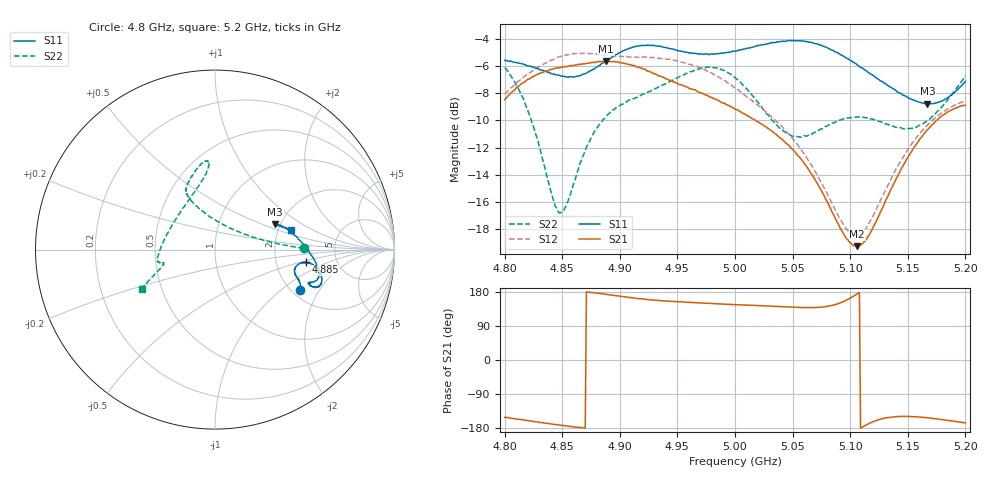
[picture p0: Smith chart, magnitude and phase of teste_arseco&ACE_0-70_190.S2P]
! Network Analyzer HP8722D
! Hewlett-Packard
! Data name: Linha & Wilkinson
! Saver's name: Rodrigo Anjos
! Comments: Teste da utilização de aquisição
! continua pelo VNA HP8722D
! Time and date: 8/5/2025 14:20
!  Frequency  S11  S21  S12  S22
# HZ  S  MA R 50
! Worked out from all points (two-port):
!   401 points, 4.8 GHz to 5.2 GHz, reference 50 ohm
!   highest |S21| = -5.64 dB at 4.888 GHz (marker M1); lowest = -19.2 dB at 5.106 GHz (marker M2)
!   |S21| within 3 dB of the highest: start of sweep to 4.988 GHz
!   lowest |S11| = -8.8 dB at 5.167 GHz (marker M3), VSWR 2.14, Z = 93.9 + j30.7 ohm
!   |S11| at or under -10 dB: nowhere
!   |S22| runs from -16.8 to -6.1 dB; largest |S21 - S12| = 1.1
!   S11 on the Smith chart (normalised r, x): 4.8 GHz: 2.23, -1.38; 4.885 GHz: 2.99, -0.57; 5.2 GHz: 2.36, +0.65
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4.8e9  0.5262 -25.2  0.3767 -151.4  0.3954 8.0  0.4938 0.8
4.82e9  0.5019 -20.5  0.4476 -159.8  0.4681 5.1  0.3455 5.8
4.846e9  0.4643 -16.5  0.4935 -171.3  0.5401 0.9  0.148 52.8
4.853e9  0.4578 -14.6  0.4988 -173.8  0.5512 -0.3  0.1522 79.8
4.867e9  0.4663 -10.8  0.5099 -178.9  0.557 -2.3  0.2269 108.5
4.885e9  0.513 -7.8  0.521 174.6  0.5509 -3.5  0.3157 116.4
4.888e9  0.5224 -8.0  0.5224 173.4  0.5492 -3.5  0.3266 116.4
4.913e9  0.5898 -11.9  0.5019 163.3  0.5409 -2.7  0.382 114.4
4.934e9  0.5932 -16.5  0.4606 156.9  0.5364 -3.5  0.4205 108.9
4.976e9  0.5549 -19.6  0.3901 149.6  0.4785 -7.1  0.496 96.0
5e9  0.5689 -20.6  0.3482 145.9  0.4171 -6.8  0.4545 94.9
5.041e9  0.6189 -18.8  0.2695 140.6  0.2994 0.7  0.2923 127.9
5.053e9  0.6206 -17.0  0.2393 138.9  0.2618 3.6  0.2755 145.6
5.067e9  0.6103 -14.1  0.1998 138.3  0.2148 8.6  0.282 165.1
5.095e9  0.5431 -4.1  0.1196 155.3  0.1294 35.5  0.3218 -172.5
5.106e9  0.5057 1.1  0.1092 174.4  0.12 56.9  0.3266 -169.0
5.116e9  0.474 6.4  0.1192 -168.3  0.1319 75.9  0.3214 -167.1
5.134e9  0.4217 15.4  0.1714 -151.4  0.1877 94.4  0.3042 -166.3
5.152e9  0.3805 21.3  0.2389 -149.2  0.254 99.5  0.2953 -164.6
5.167e9  0.3641 22.9  0.292 -152.6  0.3042 100.1  0.3158 -161.6
5.182e9  0.3781 20.7  0.3343 -158.2  0.3426 100.1  0.3655 -157.5
5.2e9  0.4401 14.6  0.3599 -166.0  0.3735 100.6  0.4608 -151.7
